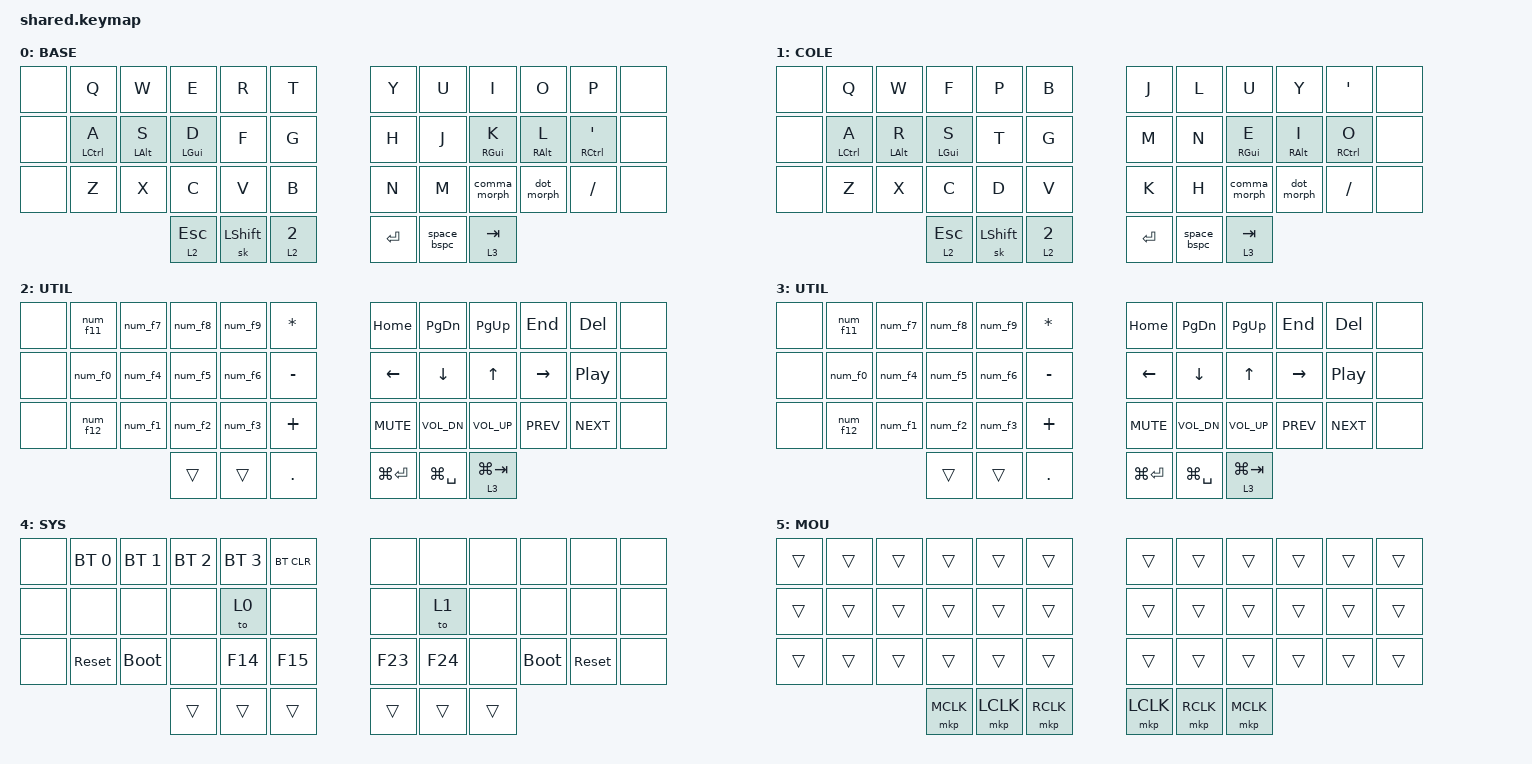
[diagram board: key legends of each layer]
#include <behaviors.dtsi>
#include <behaviors/num_word.dtsi>
#include <dt-bindings/zmk/bt.h>
#include <dt-bindings/zmk/keys.h>
#include <dt-bindings/zmk/matrix_transform.h>
#include <dt-bindings/zmk/pointing.h>

/* 
 * 42-key Unified Logical Keymap (Active 36-key core for Totem and Toucan)
 *
 * === LAYER 0: QWERTY BASE LAYER ===
 *        [ LEFT HAND ]                                          [ RIGHT HAND ]
 * Top:    [ Q ]  [ W ]  [ E ]  [ R ]  [ T ]               [ Y ]  [ U ]  [ I ]  [ O ]  [ P ]
 * Home:   [ A ]  [ S ]  [ D ]  [ F ]  [ G ]               [ H ]  [ J ]  [ K ]  [ L ]  [ ' ]
 *         (Ctrl) (Alt)  (Gui)                                           (Gui)  (Alt)  (Ctrl)
 * Bottom: [ Z ]  [ X ]  [ C ]  [ V ]  [ B ]               [ N ]  [ M ]  [ , ]  [ . ]  [ / ]
 *                                                                       (;)    (:)    (?)
 *           Left Thumbs                                             Right Thumbs
 *    [ ESC / UTIL ]  [ STICKY SHIFT ]  [ BACKSPACE ]         [ ENTER ]  [ SPACE ]  [ TAB / UTIL ]
 *       (Hold L2)       (&sk LSHFT)     (Hold repeat)                     (Tap)       (Hold L3)
 *
 * === LAYER 1: COLEMAK-DH BASE LAYER ===
 *        [ LEFT HAND ]                                          [ RIGHT HAND ]
 * Top:    [ Q ]  [ W ]  [ F ]  [ P ]  [ B ]               [ J ]  [ L ]  [ U ]  [ Y ]  [ ' ]
 * Home:   [ A ]  [ R ]  [ S ]  [ T ]  [ G ]               [ M ]  [ N ]  [ E ]  [ I ]  [ O ]
 *         (Ctrl) (Alt)  (Gui)                                           (Gui)  (Alt)  (Ctrl)
 * Bottom: [ Z ]  [ X ]  [ C ]  [ D ]  [ V ]               [ K ]  [ H ]  [ , ]  [ . ]  [ / ]
 *                                                                       (;)    (:)    (?)
 *
 * === SHARED UTILITY LAYERS (Hold Left Inner -> L2, Hold Right Tab -> L3, or Tap for Numword) ===
 *        [ LEFT HAND: CLASSIC NUMPAD ]                          [ RIGHT HAND: NAV & MEDIA (HJKL) ]
 * Top:    [ F11// ] [ 7/F7 ] [ 8/F8 ] [ 9/F9 ] [  *  ]        [ HOME ] [PG_DN ] [PG_UP ] [ END  ] [ DEL  ]
 * Home:   [ 0/F10 ] [ 4/F4 ] [ 5/F5 ] [ 6/F6 ] [  -  ]        [ LEFT ] [ DOWN ] [  UP  ] [RIGHT ] [PLAY/PAUSE]
 * Bottom: [ F12/= ] [ 1/F1 ] [ 2/F2 ] [ 3/F3 ] [  +  ]        [ MUTE ] [VOL_DN] [VOL_UP] [ PREV ] [ NEXT ]
 * Thumbs:  [ Esc  ]       [ Shift ] [     .     ]               [ Cmd+Enter ]  [ Cmd+Space ]  [ Cmd+Tab ]
 *
 * === SYSTEM LAYER 4 (Hold BOTH Left Esc and Right Tab) ===
 * Top:    [BT_SEL 0] [BT_SEL 1] [BT_SEL 2] [BT_SEL 3] [BT_CLR]
 * Home:                        [QWERTY]                                [COL-DH]
 * Bottom: [RESET   ] [BOOTLOAD] [        ] [C_BRI_DN] [C_BRI_UP] [ DNG_DN ] [ DNG_UP ] [        ] [BOOTLOAD] [RESET]
 *
 * Matrix Indices:
 * 0-11:  Top Row    (0 and 11 unused / &none)
 * 12-23: Middle Row (12 and 23 unused / &none)
 * 24-35: Bottom Row (24 and 35 unused / &none)
 * 36-41: Thumb Keys
 */

#define LEFT_SIDE_KEYS  1 2 3 4 5 13 14 15 16 17 25 26 27 28 29 36 37 38
#define RIGHT_SIDE_KEYS 6 7 8 9 10 18 19 20 21 22 30 31 32 33 34 39 40 41

/ {
    behaviors {
        gresc: grave_escape {
            compatible = "zmk,behavior-mod-morph";
            #binding-cells = <0>;
            bindings = <&kp ESC>, <&kp GRAVE>;
            mods = <(MOD_LGUI|MOD_LSFT|MOD_RGUI|MOD_RSFT)>;
        };

        /* Home Row Mods - Tap-Preferred with Prior Idle & Bilateral Isolation */
        hml: home_row_mod_left {
            compatible = "zmk,behavior-hold-tap";
            #binding-cells = <2>;
            flavor = "tap-preferred";
            require-prior-idle-ms = <150>;
            tapping-term-ms = <210>;
            quick-tap-ms = <175>;
            bindings = <&kp>, <&kp>;
            hold-trigger-key-positions = <RIGHT_SIDE_KEYS>;
            hold-trigger-on-release;
        };

        hmr: home_row_mod_right {
            compatible = "zmk,behavior-hold-tap";
            #binding-cells = <2>;
            flavor = "tap-preferred";
            require-prior-idle-ms = <150>;
            tapping-term-ms = <210>;
            quick-tap-ms = <175>;
            bindings = <&kp>, <&kp>;
            hold-trigger-key-positions = <LEFT_SIDE_KEYS>;
            hold-trigger-on-release;
        };

        /* Smart Numword / Momentary Util: Tap for Numword, Hold for Util Layer */
        smart_num: smart_num {
            compatible = "zmk,behavior-hold-tap";
            #binding-cells = <2>;
            flavor = "balanced";
            tapping-term-ms = <200>;
            quick-tap-ms = <175>;
            bindings = <&mo>, <&num_word>;
        };

        /* Morph: Space -> Backspace on Shift */
        space_bspc: space_backspace_morph {
            compatible = "zmk,behavior-mod-morph";
            #binding-cells = <0>;
            bindings = <&kp SPACE>, <&kp BSPC>;
            mods = <(MOD_LSFT|MOD_RSFT)>;
        };

        /* Morph: Enter -> Delete on Shift */
        ret_del: return_delete_morph {
            compatible = "zmk,behavior-mod-morph";
            #binding-cells = <0>;
            bindings = <&kp RET>, <&kp DEL>;
            mods = <(MOD_LSFT|MOD_RSFT)>;
        };

        /* Smart Punctuation: Comma shifts to Semicolon */
        comma_morph: comma_morph {
            compatible = "zmk,behavior-mod-morph";
            #binding-cells = <0>;
            bindings = <&kp COMMA>, <&kp SEMI>;
            mods = <(MOD_LSFT|MOD_RSFT)>;
        };

        /* Smart Punctuation: Period shifts to Colon */
        dot_morph: dot_morph {
            compatible = "zmk,behavior-mod-morph";
            #binding-cells = <0>;
            bindings = <&kp DOT>, <&kp COLON>;
            mods = <(MOD_LSFT|MOD_RSFT)>;
        };

        /* Parentheses morph to Angle Brackets on Shift (Urob style) */
        lpar_lt: lpar_lt {
            compatible = "zmk,behavior-mod-morph";
            #binding-cells = <0>;
            bindings = <&kp LPAR>, <&kp LT>;
            mods = <(MOD_LSFT|MOD_RSFT)>;
        };

        rpar_gt: rpar_gt {
            compatible = "zmk,behavior-mod-morph";
            #binding-cells = <0>;
            bindings = <&kp RPAR>, <&kp GT>;
            mods = <(MOD_LSFT|MOD_RSFT)>;
        };

        /* Numpad numbers morph to F-keys on Shift */
        num_f1: num_f1 {
            compatible = "zmk,behavior-mod-morph";
            #binding-cells = <0>;
            bindings = <&kp N1>, <&kp F1>;
            mods = <(MOD_LSFT|MOD_RSFT)>;
        };

        num_f2: num_f2 {
            compatible = "zmk,behavior-mod-morph";
            #binding-cells = <0>;
            bindings = <&kp N2>, <&kp F2>;
            mods = <(MOD_LSFT|MOD_RSFT)>;
        };

        num_f3: num_f3 {
            compatible = "zmk,behavior-mod-morph";
            #binding-cells = <0>;
            bindings = <&kp N3>, <&kp F3>;
            mods = <(MOD_LSFT|MOD_RSFT)>;
        };

        num_f4: num_f4 {
            compatible = "zmk,behavior-mod-morph";
            #binding-cells = <0>;
            bindings = <&kp N4>, <&kp F4>;
            mods = <(MOD_LSFT|MOD_RSFT)>;
        };

        num_f5: num_f5 {
            compatible = "zmk,behavior-mod-morph";
            #binding-cells = <0>;
            bindings = <&kp N5>, <&kp F5>;
            mods = <(MOD_LSFT|MOD_RSFT)>;
        };

        num_f6: num_f6 {
            compatible = "zmk,behavior-mod-morph";
            #binding-cells = <0>;
            bindings = <&kp N6>, <&kp F6>;
            mods = <(MOD_LSFT|MOD_RSFT)>;
        };

        num_f7: num_f7 {
            compatible = "zmk,behavior-mod-morph";
            #binding-cells = <0>;
            bindings = <&kp N7>, <&kp F7>;
            mods = <(MOD_LSFT|MOD_RSFT)>;
        };

        num_f8: num_f8 {
            compatible = "zmk,behavior-mod-morph";
            #binding-cells = <0>;
            bindings = <&kp N8>, <&kp F8>;
            mods = <(MOD_LSFT|MOD_RSFT)>;
        };

        num_f9: num_f9 {
            compatible = "zmk,behavior-mod-morph";
            #binding-cells = <0>;
            bindings = <&kp N9>, <&kp F9>;
            mods = <(MOD_LSFT|MOD_RSFT)>;
        };

        num_f0: num_f0 {
            compatible = "zmk,behavior-mod-morph";
            #binding-cells = <0>;
            bindings = <&kp N0>, <&kp F10>;
            mods = <(MOD_LSFT|MOD_RSFT)>;
        };

        num_f11: num_f11 {
            compatible = "zmk,behavior-mod-morph";
            #binding-cells = <0>;
            bindings = <&kp SLASH>, <&kp F11>;
            mods = <(MOD_LSFT|MOD_RSFT)>;
        };

        num_f12: num_f12 {
            compatible = "zmk,behavior-mod-morph";
            #binding-cells = <0>;
            bindings = <&kp EQUAL>, <&kp F12>;
            mods = <(MOD_LSFT|MOD_RSFT)>;
        };
    };

    combos {
        compatible = "zmk,combos";

        /* Horizontal Brackets & Delimiters */
        combo_lpar {
            timeout-ms = <35>;
            key-positions = <19 20>;
            bindings = <&lpar_lt>;
            require-prior-idle-ms = <150>;
        };

        combo_rpar {
            timeout-ms = <35>;
            key-positions = <20 21>;
            bindings = <&rpar_gt>;
            require-prior-idle-ms = <150>;
        };

        /* Direct Bottom-Row Angle Brackets: < [ ] > */
        combo_lt {
            timeout-ms = <35>;
            key-positions = <30 31>;
            bindings = <&kp LT>;
            require-prior-idle-ms = <150>;
        };

        combo_lbkt {
            timeout-ms = <35>;
            key-positions = <31 32>;
            bindings = <&kp LBKT>;
            require-prior-idle-ms = <150>;
        };

        combo_rbkt {
            timeout-ms = <35>;
            key-positions = <32 33>;
            bindings = <&kp RBKT>;
            require-prior-idle-ms = <150>;
        };

        combo_gt {
            timeout-ms = <35>;
            key-positions = <33 34>;
            bindings = <&kp GT>;
            require-prior-idle-ms = <150>;
        };

        /* Vertical Combos - Left Hand (Top + Home: Number Row Symbols) */
        combo_excl {
            timeout-ms = <40>;
            key-positions = <1 13>;
            bindings = <&kp EXCL>;
            require-prior-idle-ms = <150>;
        };

        combo_at {
            timeout-ms = <40>;
            key-positions = <2 14>;
            bindings = <&kp AT>;
            require-prior-idle-ms = <150>;
        };

        combo_hash {
            timeout-ms = <40>;
            key-positions = <3 15>;
            bindings = <&kp HASH>;
            require-prior-idle-ms = <150>;
        };

        combo_dollar {
            timeout-ms = <40>;
            key-positions = <4 16>;
            bindings = <&kp DLLR>;
            require-prior-idle-ms = <150>;
        };

        combo_percent {
            timeout-ms = <40>;
            key-positions = <5 17>;
            bindings = <&kp PRCNT>;
            require-prior-idle-ms = <150>;
        };

        /* Vertical Combos - Right Hand (Top + Home: Math & Symbols) */
        combo_caret {
            timeout-ms = <40>;
            key-positions = <6 18>;
            bindings = <&kp CARET>;
            require-prior-idle-ms = <150>;
        };

        combo_plus {
            timeout-ms = <40>;
            key-positions = <7 19>;
            bindings = <&kp PLUS>;
            require-prior-idle-ms = <150>;
        };

        combo_star {
            timeout-ms = <40>;
            key-positions = <8 20>;
            bindings = <&kp ASTRK>;
            require-prior-idle-ms = <150>;
        };

        combo_amps {
            timeout-ms = <40>;
            key-positions = <9 21>;
            bindings = <&kp AMPS>;
            require-prior-idle-ms = <150>;
        };

        /* Vertical Combos - Left Hand (Home + Bottom: Punctuation & Math) */
        combo_grave {
            timeout-ms = <40>;
            key-positions = <14 26>;
            bindings = <&kp GRAVE>;
            require-prior-idle-ms = <150>;
        };

        combo_bslh {
            timeout-ms = <40>;
            key-positions = <15 27>;
            bindings = <&kp BSLH>;
            require-prior-idle-ms = <150>;
        };

        combo_equal {
            timeout-ms = <40>;
            key-positions = <16 28>;
            bindings = <&kp EQUAL>;
            require-prior-idle-ms = <150>;
        };

        combo_tilde {
            timeout-ms = <40>;
            key-positions = <17 29>;
            bindings = <&kp TILDE>;
            require-prior-idle-ms = <150>;
        };

        /* Vertical Combos - Right Hand (Home + Bottom: Operators) */
        combo_under {
            timeout-ms = <40>;
            key-positions = <18 30>;
            bindings = <&kp UNDER>;
            require-prior-idle-ms = <150>;
        };

        combo_minus {
            timeout-ms = <40>;
            key-positions = <19 31>;
            bindings = <&kp MINUS>;
            require-prior-idle-ms = <150>;
        };

        combo_slash {
            timeout-ms = <40>;
            key-positions = <20 32>;
            bindings = <&kp FSLH>;
            require-prior-idle-ms = <150>;
        };

        combo_pipe {
            timeout-ms = <40>;
            key-positions = <21 33>;
            bindings = <&kp PIPE>;
            require-prior-idle-ms = <150>;
        };

        /* Utility Thumb Chord: Space + Tab on Util layers -> Cmd+` (Cycle app windows) */
        combo_cmd_grave {
            timeout-ms = <40>;
            key-positions = <40 41>;
            bindings = <&kp LG(GRAVE)>;
            layers = <2 3>;
        };
    };

    conditional_layers {
        compatible = "zmk,conditional-layers";
        tri_layer {
            if-layers = <2 3>;
            then-layer = <4>;
        };
    };

    keymap {
        compatible = "zmk,keymap";

        /* Layer 0: Unified 36-key QWERTY Base */
        base_layer {
            display-name = "BASE";
            bindings = <
&none  &kp Q         &kp W          &kp E         &kp R         &kp T            &kp Y       &kp U         &kp I         &kp O         &kp P          &none
&none  &hml LCTRL A  &hml LEFT_ALT S &hml LGUI D  &kp F         &kp G            &kp H       &kp J         &hmr RGUI K   &hmr RALT L   &hmr RCTRL SQT &none
&none  &kp Z         &kp X          &kp C         &kp V         &kp B            &kp N       &kp M         &comma_morph  &dot_morph    &kp SLASH      &none
                                    &lt 2 ESC     &sk LSHFT     &smart_num 2 2   &kp RET     &space_bspc   &lt 3 TAB
            >;
        };

        /* Layer 1: Unified 36-key Colemak-DH Base */
        colemak_layer {
            display-name = "COLE";
            bindings = <
&none  &kp Q         &kp W          &kp F         &kp P         &kp B            &kp J       &kp L         &kp U         &kp Y         &kp SQT        &none
&none  &hml LCTRL A  &hml LEFT_ALT R &hml LGUI S  &kp T         &kp G            &kp M       &kp N         &hmr RGUI E   &hmr RALT I   &hmr RCTRL O   &none
&none  &kp Z         &kp X          &kp C         &kp D         &kp V            &kp K       &kp H         &comma_morph  &dot_morph    &kp SLASH      &none
                                    &lt 2 ESC     &sk LSHFT     &smart_num 2 2   &kp RET     &space_bspc   &lt 3 TAB
            >;
        };

        /* Layer 2: Left Utility (Numpad on Left, Nav/Media on Right) */
        util_left_layer {
            display-name = "UTIL";
            bindings = <
&none  &num_f11   &num_f7      &num_f8      &num_f9      &kp ASTRK        &kp HOME   &kp PG_DN  &kp PG_UP  &kp END    &kp DEL          &none
&none  &num_f0    &num_f4      &num_f5      &num_f6      &kp MINUS        &kp LEFT   &kp DOWN   &kp UP     &kp RIGHT  &kp C_PLAY_PAUSE &none
&none  &num_f12   &num_f1      &num_f2      &num_f3      &kp PLUS         &kp C_MUTE &kp C_VOL_DN &kp C_VOL_UP &kp C_PREV &kp C_NEXT   &none
                                &trans       &trans       &kp DOT          &kp LG(RET) &kp LG(SPACE) &lt 3 LG(TAB)
            >;
        };

        /* Layer 3: Right Utility (Identical mapping) */
        util_right_layer {
            display-name = "UTIL";
            bindings = <
&none  &num_f11   &num_f7      &num_f8      &num_f9      &kp ASTRK        &kp HOME   &kp PG_DN  &kp PG_UP  &kp END    &kp DEL          &none
&none  &num_f0    &num_f4      &num_f5      &num_f6      &kp MINUS        &kp LEFT   &kp DOWN   &kp UP     &kp RIGHT  &kp C_PLAY_PAUSE &none
&none  &num_f12   &num_f1      &num_f2      &num_f3      &kp PLUS         &kp C_MUTE &kp C_VOL_DN &kp C_VOL_UP &kp C_PREV &kp C_NEXT   &none
                                &trans       &trans       &kp DOT          &kp LG(RET) &kp LG(SPACE) &lt 3 LG(TAB)
            >;
        };

        /* Layer 4: System & Hardware Controls (Active when BOTH outer thumbs are held) */
        sys_layer {
            display-name = "SYS";
            bindings = <
&none  &bt BT_SEL 0  &bt BT_SEL 1  &bt BT_SEL 2  &bt BT_SEL 3  &bt BT_CLR       &none       &none     &none     &none     &none      &none
&none  &none         &none         &none         &to 0         &none            &none       &to 1     &none     &none     &none      &none
&none  &sys_reset    &bootloader   &none         &kp F14       &kp F15          &kp F23     &kp F24   &none     &bootloader &sys_reset &none
                                   &trans        &trans        &trans           &trans      &trans    &trans
            >;
        };

        /* Layer 5: Mouse Controls (Activated automatically while touching trackpad) */
        mouse_layer {
            display-name = "MOU";
            bindings = <
&trans &trans &trans &trans &trans &trans           &trans &trans &trans &trans &trans &trans
&trans &trans &trans &trans &trans &trans           &trans &trans &trans &trans &trans &trans
&trans &trans &trans &trans &trans &trans           &trans &trans &trans &trans &trans &trans
              &mkp MCLK &mkp LCLK &mkp RCLK         &mkp LCLK &mkp RCLK &mkp MCLK
            >;
        };
    };
};
